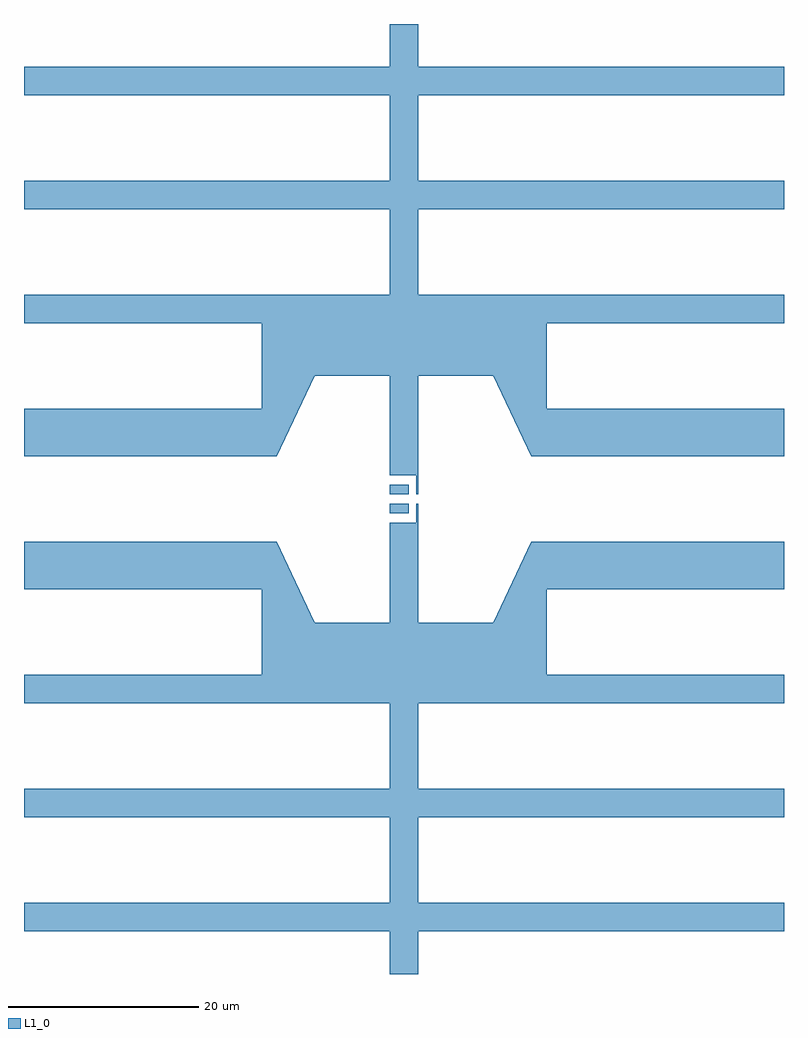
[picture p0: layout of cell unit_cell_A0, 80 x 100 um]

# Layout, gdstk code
from math import pi, radians
import gdstk
lib = gdstk.Library(unit=1e-6, precision=1e-09)
def R(c, l, rs):  # rectangles x0, y0, x1, y1
    for r in rs: c.add(gdstk.rectangle(r[:2], r[2:], *l))
def P(c, l, *ps):  # polygons
    for p in ps: c.add(gdstk.Polygon(p, *l))
L1_0 = (1, 0)

unnamed_34 = lib.new_cell('Unnamed_34')
P(unnamed_34, L1_0, [(38.5,0),(38.5,4.5),(0,4.5),(0,7.5),(38.5,7.5),(38.5,16.5),(0,16.5),(0,19.5),(38.5,19.5),(38.5,28.5),(0,28.5),(0,31.5),(25,31.5),(25,40.5),(0,40.5),(0,45.5),(26.597,45.5),(30.596,37),(38.5,37),(38.5,47.5),(40,47.5),(40,0)])

unnamed_35 = lib.new_cell('Unnamed_35')
unnamed_35.add(gdstk.Reference(unnamed_34, (0,0)))

rectangle_s2_1_lwg_cfal_ = lib.new_cell('rectangle_S2_1_LWG_CFal_a0a9c26d')
R(rectangle_s2_1_lwg_cfal_, L1_0, [(0,0,2,1)])

rectangle_s0p2_2_lwg_cf_ = lib.new_cell('rectangle_S0p2_2_LWG_CF_9ef6d549')
R(rectangle_s0p2_2_lwg_cf_, L1_0, [(0,0,0.2,2)])

unnamed_36 = lib.new_cell('Unnamed_36')
unnamed_36.add(gdstk.Reference(rectangle_s2_1_lwg_cfal_, (0,-1.5)))
unnamed_36.add(gdstk.Reference(rectangle_s0p2_2_lwg_cf_, (2.8,-2.5)))

unit_cell_a0 = lib.new_cell('unit_cell_A0')
unit_cell_a0.add(gdstk.Reference(unnamed_35, (0,0)))
unit_cell_a0.add(gdstk.Reference(unnamed_35, (80,0), rotation=pi, x_reflection=True))
unit_cell_a0.add(gdstk.Reference(unnamed_35, (0,100), x_reflection=True))
unit_cell_a0.add(gdstk.Reference(unnamed_35, (80,100), rotation=pi))
unit_cell_a0.add(gdstk.Reference(unnamed_36, (38.5,50)))
unit_cell_a0.add(gdstk.Reference(unnamed_36, (38.5,50), x_reflection=True))

lib.write_gds('unit_cell_A0.gds')
